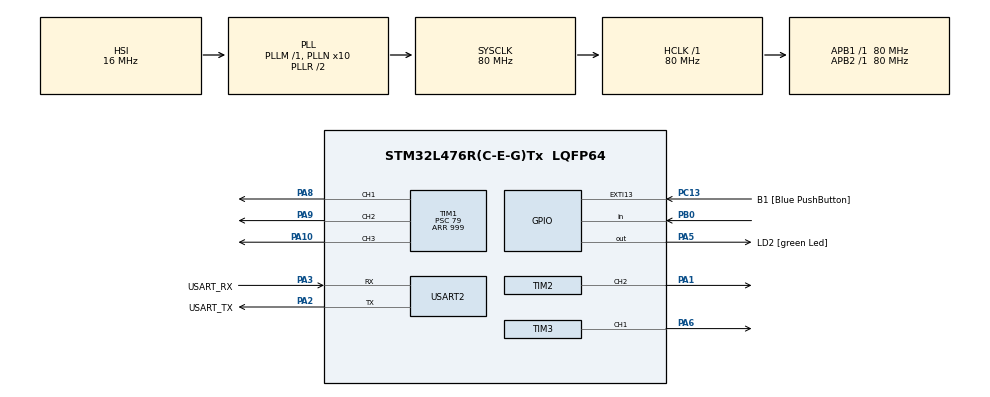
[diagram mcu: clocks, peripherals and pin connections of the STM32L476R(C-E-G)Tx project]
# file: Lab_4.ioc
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Mcu.Family=STM32L4
Mcu.Name=STM32L476R(C-E-G)Tx
Mcu.Package=LQFP64
NVIC.PriorityGroup=NVIC_PRIORITYGROUP_4
PA1.Signal=S_TIM2_CH2
PA10.Signal=S_TIM1_CH3
PA13\ (JTMS-SWDIO).GPIO_Label=TMS
PA13\ (JTMS-SWDIO).Mode=Serial_Wire
PA13\ (JTMS-SWDIO).Signal=SYS_JTMS-SWDIO
PA14\ (JTCK-SWCLK).GPIO_Label=TCK
PA14\ (JTCK-SWCLK).Mode=Serial_Wire
PA14\ (JTCK-SWCLK).Signal=SYS_JTCK-SWCLK
PA2.GPIO_Label=USART_TX
PA2.GPIO_Mode=GPIO_MODE_AF_PP
PA2.GPIO_PuPd=GPIO_NOPULL
PA2.GPIO_Speed=GPIO_SPEED_FREQ_VERY_HIGH
PA2.Mode=Asynchronous
PA2.Signal=USART2_TX
PA3.GPIO_Label=USART_RX
PA3.GPIO_Mode=GPIO_MODE_AF_PP
PA3.GPIO_PuPd=GPIO_NOPULL
PA3.GPIO_Speed=GPIO_SPEED_FREQ_VERY_HIGH
PA3.Mode=Asynchronous
PA3.Signal=USART2_RX
PA5.GPIO_Label=LD2 [green Led]
PA5.GPIO_ModeDefaultOutputPP=GPIO_MODE_OUTPUT_PP
PA5.GPIO_PuPd=GPIO_NOPULL
PA5.GPIO_Speed=GPIO_SPEED_FREQ_LOW
PA5.Signal=GPIO_Output
PA6.Signal=S_TIM3_CH1
PA8.Signal=S_TIM1_CH1
PA9.Signal=S_TIM1_CH2
PB0.GPIO_PuPd=GPIO_PULLUP
PB0.Signal=GPIO_Input
PB3\ (JTDO-TRACESWO).GPIO_Label=SWO
PB3\ (JTDO-TRACESWO).Signal=SYS_JTDO-SWO
PC13.GPIO_Label=B1 [Blue PushButton]
PC13.GPIO_ModeDefaultEXTI=GPIO_MODE_IT_FALLING
PC13.GPIO_PuPd=GPIO_NOPULL
PC13.Signal=GPXTI13
PC14-OSC32_IN\ (PC14).Mode=LSE-External-Oscillator
PC14-OSC32_IN\ (PC14).Signal=RCC_OSC32_IN
PC15-OSC32_OUT\ (PC15).Mode=LSE-External-Oscillator
PC15-OSC32_OUT\ (PC15).Signal=RCC_OSC32_OUT
PH0-OSC_IN\ (PH0).Signal=RCC_OSC_IN
PH1-OSC_OUT\ (PH1).Signal=RCC_OSC_OUT
ProjectManager.HeapSize=0x200
ProjectManager.StackSize=0x400
ProjectManager.TargetToolchain=STM32CubeIDE
RCC.ADCFreq_Value=64000000
RCC.AHBFreq_Value=80000000
RCC.APB1Freq_Value=80000000
RCC.APB1TimFreq_Value=80000000
RCC.APB2Freq_Value=80000000
RCC.APB2TimFreq_Value=80000000
RCC.CortexFreq_Value=80000000
RCC.HCLKFreq_Value=80000000
RCC.HSE_VALUE=8000000
RCC.HSI_VALUE=16000000
RCC.MSI_VALUE=4000000
RCC.PLLN=10
RCC.PLLSourceVirtual=RCC_PLLSOURCE_HSI
RCC.PREFETCH_ENABLE=1
RCC.SYSCLKFreq_VALUE=80000000
RCC.SYSCLKSource=RCC_SYSCLKSOURCE_PLLCLK
RCC.USBFreq_Value=64000000
RCC.VCOOutputFreq_Value=160000000
SH.S_TIM1_CH1.0=TIM1_CH1,PWM Generation1 CH1
SH.S_TIM1_CH2.0=TIM1_CH2,PWM Generation2 CH2
SH.S_TIM1_CH3.0=TIM1_CH3,PWM Generation3 CH3
SH.S_TIM2_CH2.0=TIM2_CH2,PWM Generation2 CH2
SH.S_TIM3_CH1.0=TIM3_CH1,PWM Generation1 CH1
TIM1.Channel-PWM\ Generation1\ CH1=TIM_CHANNEL_1
TIM1.Channel-PWM\ Generation2\ CH2=TIM_CHANNEL_2
TIM1.Channel-PWM\ Generation3\ CH3=TIM_CHANNEL_3
TIM1.Period=999
TIM1.Prescaler=79
TIM2.Channel-PWM\ Generation2\ CH2=TIM_CHANNEL_2
TIM2.Period=999
TIM2.Prescaler=79
TIM3.Channel-PWM\ Generation1\ CH1=TIM_CHANNEL_1
TIM3.Period=999
TIM3.Prescaler=79
TIM3.Pulse-PWM\ Generation1\ CH1=25
USART2.VirtualMode-Asynchronous=VM_ASYNC
board=NUCLEO-L476RG

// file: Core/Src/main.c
/* USER CODE BEGIN Header */
/**
  ******************************************************************************
  * @file           : main.c
  * @brief          : Main program body
  ******************************************************************************
  * @attention
  *
  * Copyright (c) 2026 STMicroelectronics.
  * All rights reserved.
  *
  * This software is licensed under terms that can be found in the LICENSE file
  * in the root directory of this software component.
  * If no LICENSE file comes with this software, it is provided AS-IS.
  *
  ******************************************************************************
  */
/* USER CODE END Header */
#include "main.h"

TIM_HandleTypeDef htim1;
TIM_HandleTypeDef htim2;
TIM_HandleTypeDef htim3;

UART_HandleTypeDef huart2;

void SystemClock_Config(void);
static void MX_GPIO_Init(void);
static void MX_USART2_UART_Init(void);
static void MX_TIM3_Init(void);
static void MX_TIM1_Init(void);
static void MX_TIM2_Init(void);

/* USER CODE BEGIN 0 */
void SetColor(uint8_t red, uint8_t green, uint8_t blue)
{
    uint32_t arr = __HAL_TIM_GET_AUTORELOAD(&htim1);

    __HAL_TIM_SET_COMPARE(&htim1, TIM_CHANNEL_1, (red   * arr) / 255);
    __HAL_TIM_SET_COMPARE(&htim1, TIM_CHANNEL_2, (green * arr) / 255);
    __HAL_TIM_SET_COMPARE(&htim1, TIM_CHANNEL_3, (blue  * arr) / 255);
}

void play_tone(uint32_t freq, uint32_t duration_ms) {
    uint32_t timer_clk = 1000000;  // 1 MHz based on 79 prescaler
    uint32_t period = timer_clk / freq;
    __HAL_TIM_SET_AUTORELOAD(&htim3, period - 1);
    __HAL_TIM_SET_COMPARE(&htim3, TIM_CHANNEL_1, period / 4);  // 25% duty cycle
    HAL_Delay(duration_ms);
    // Silence between notes
    __HAL_TIM_SET_COMPARE(&htim3, TIM_CHANNEL_1, 0);
    HAL_Delay(30);
}

/* USER CODE END 0 */

int main(void)
{

  /* MCU Configuration--------------------------------------------------------*/

  /* Reset of all peripherals, Initializes the Flash interface and the Systick. */
  HAL_Init();

  /* Configure the system clock */
  SystemClock_Config();

  /* Initialize all configured peripherals */
  MX_GPIO_Init();
  MX_USART2_UART_Init();
  MX_TIM3_Init();
  MX_TIM1_Init();
  MX_TIM2_Init();
  /* USER CODE BEGIN 2 */
  HAL_TIM_PWM_Start(&htim3, TIM_CHANNEL_1); // Start PWM

  HAL_TIM_PWM_Start(&htim1, TIM_CHANNEL_1); // Start PWM
  HAL_TIM_PWM_Start(&htim1, TIM_CHANNEL_2);
  HAL_TIM_PWM_Start(&htim1, TIM_CHANNEL_3);
  /* USER CODE END 2 */

  /* Infinite loop */
  /* USER CODE BEGIN WHILE */
  while (1)
  {
	  play_tone(0,0);
	  if(HAL_GPIO_ReadPin(GPIOB, GPIO_PIN_0) == GPIO_PIN_RESET){
		  SetColor(255,0,0);
		  HAL_Delay(500);

		  SetColor(0,255,0);
		  HAL_Delay(500);

		  SetColor(0,0,255);
		  HAL_Delay(500);

		  SetColor(0,0,0);
		  HAL_Delay(500);

		  // Hachimi chimi chi
		  play_tone(659, 180);   // E5
		  play_tone(659, 180);   // E5
		  play_tone(784, 180);   // G5
		  play_tone(659, 180);   // E5

		  // Ashiga ga ashi
		  play_tone(587, 180);   // D5
		  play_tone(659, 180);   // E5
		  play_tone(587, 180);   // D5

		  // MAMBO!
		  play_tone(784, 300);   // G5

		  // MAMBO!
		  play_tone(784, 300);   // G5

		  // MA-MAMBOOO
		  play_tone(659, 180);   // E5
		  play_tone(784, 180);   // G5
		  play_tone(988, 600);   // B5

		  // Ting ting tung tung ting
		  play_tone(988, 150);   // B5
		  play_tone(988, 150);   // B5
		  play_tone(784, 150);   // G5
		  play_tone(784, 150);   // G5
		  play_tone(988, 250);   // B5

		  // Ting ting ting tung tung ting
		  play_tone(988, 150);   // B5
		  play_tone(988, 150);   // B5
		  play_tone(988, 150);   // B5
		  play_tone(784, 150);   // G5
		  play_tone(784, 150);   // G5
		  play_tone(988, 300);   // B5

		  // HAAAAACHIMI
		  play_tone(659, 200);   // E5
		  play_tone(784, 200);   // G5
		  play_tone(988, 900);   // B5
	  }

    /* USER CODE END WHILE */

  }
}

void SystemClock_Config(void)
{
  RCC_OscInitTypeDef RCC_OscInitStruct = {0};
  RCC_ClkInitTypeDef RCC_ClkInitStruct = {0};

  /** Configure the main internal regulator output voltage
  */
  if (HAL_PWREx_ControlVoltageScaling(PWR_REGULATOR_VOLTAGE_SCALE1) != HAL_OK)
  {
    Error_Handler();
  }

  /** Initializes the RCC Oscillators according to the specified parameters
  * in the RCC_OscInitTypeDef structure.
  */
  RCC_OscInitStruct.OscillatorType = RCC_OSCILLATORTYPE_HSI;
  RCC_OscInitStruct.HSIState = RCC_HSI_ON;
  RCC_OscInitStruct.HSICalibrationValue = RCC_HSICALIBRATION_DEFAULT;
  RCC_OscInitStruct.PLL.PLLState = RCC_PLL_ON;
  RCC_OscInitStruct.PLL.PLLSource = RCC_PLLSOURCE_HSI;
  RCC_OscInitStruct.PLL.PLLM = 1;
  RCC_OscInitStruct.PLL.PLLN = 10;
  RCC_OscInitStruct.PLL.PLLP = RCC_PLLP_DIV7;
  RCC_OscInitStruct.PLL.PLLQ = RCC_PLLQ_DIV2;
  RCC_OscInitStruct.PLL.PLLR = RCC_PLLR_DIV2;
  if (HAL_RCC_OscConfig(&RCC_OscInitStruct) != HAL_OK)
  {
    Error_Handler();
  }

  /** Initializes the CPU, AHB and APB buses clocks
  */
  RCC_ClkInitStruct.ClockType = RCC_CLOCKTYPE_HCLK|RCC_CLOCKTYPE_SYSCLK
                              |RCC_CLOCKTYPE_PCLK1|RCC_CLOCKTYPE_PCLK2;
  RCC_ClkInitStruct.SYSCLKSource = RCC_SYSCLKSOURCE_PLLCLK;
  RCC_ClkInitStruct.AHBCLKDivider = RCC_SYSCLK_DIV1;
  RCC_ClkInitStruct.APB1CLKDivider = RCC_HCLK_DIV1;
  RCC_ClkInitStruct.APB2CLKDivider = RCC_HCLK_DIV1;

  if (HAL_RCC_ClockConfig(&RCC_ClkInitStruct, FLASH_LATENCY_4) != HAL_OK)
  {
    Error_Handler();
  }
}

static void MX_TIM1_Init(void)
{

  TIM_MasterConfigTypeDef sMasterConfig = {0};
  TIM_OC_InitTypeDef sConfigOC = {0};
  TIM_BreakDeadTimeConfigTypeDef sBreakDeadTimeConfig = {0};

  htim1.Instance = TIM1;
  htim1.Init.Prescaler = 79;
  htim1.Init.CounterMode = TIM_COUNTERMODE_UP;
  htim1.Init.Period = 999;
  htim1.Init.ClockDivision = TIM_CLOCKDIVISION_DIV1;
  htim1.Init.RepetitionCounter = 0;
  htim1.Init.AutoReloadPreload = TIM_AUTORELOAD_PRELOAD_DISABLE;
  if (HAL_TIM_PWM_Init(&htim1) != HAL_OK)
  {
    Error_Handler();
  }
  sMasterConfig.MasterOutputTrigger = TIM_TRGO_RESET;
  sMasterConfig.MasterOutputTrigger2 = TIM_TRGO2_RESET;
  sMasterConfig.MasterSlaveMode = TIM_MASTERSLAVEMODE_DISABLE;
  if (HAL_TIMEx_MasterConfigSynchronization(&htim1, &sMasterConfig) != HAL_OK)
  {
    Error_Handler();
  }
  sConfigOC.OCMode = TIM_OCMODE_PWM1;
  sConfigOC.Pulse = 0;
  sConfigOC.OCPolarity = TIM_OCPOLARITY_HIGH;
  sConfigOC.OCNPolarity = TIM_OCNPOLARITY_HIGH;
  sConfigOC.OCFastMode = TIM_OCFAST_DISABLE;
  sConfigOC.OCIdleState = TIM_OCIDLESTATE_RESET;
  sConfigOC.OCNIdleState = TIM_OCNIDLESTATE_RESET;
  if (HAL_TIM_PWM_ConfigChannel(&htim1, &sConfigOC, TIM_CHANNEL_1) != HAL_OK)
  {
    Error_Handler();
  }
  if (HAL_TIM_PWM_ConfigChannel(&htim1, &sConfigOC, TIM_CHANNEL_2) != HAL_OK)
  {
    Error_Handler();
  }
  if (HAL_TIM_PWM_ConfigChannel(&htim1, &sConfigOC, TIM_CHANNEL_3) != HAL_OK)
  {
    Error_Handler();
  }
  sBreakDeadTimeConfig.OffStateRunMode = TIM_OSSR_DISABLE;
  sBreakDeadTimeConfig.OffStateIDLEMode = TIM_OSSI_DISABLE;
  sBreakDeadTimeConfig.LockLevel = TIM_LOCKLEVEL_OFF;
  sBreakDeadTimeConfig.DeadTime = 0;
  sBreakDeadTimeConfig.BreakState = TIM_BREAK_DISABLE;
  sBreakDeadTimeConfig.BreakPolarity = TIM_BREAKPOLARITY_HIGH;
  sBreakDeadTimeConfig.BreakFilter = 0;
  sBreakDeadTimeConfig.Break2State = TIM_BREAK2_DISABLE;
  sBreakDeadTimeConfig.Break2Polarity = TIM_BREAK2POLARITY_HIGH;
  sBreakDeadTimeConfig.Break2Filter = 0;
  sBreakDeadTimeConfig.AutomaticOutput = TIM_AUTOMATICOUTPUT_DISABLE;
  if (HAL_TIMEx_ConfigBreakDeadTime(&htim1, &sBreakDeadTimeConfig) != HAL_OK)
  {
    Error_Handler();
  }
  HAL_TIM_MspPostInit(&htim1);

}

static void MX_TIM2_Init(void)
{

  TIM_MasterConfigTypeDef sMasterConfig = {0};
  TIM_OC_InitTypeDef sConfigOC = {0};

  htim2.Instance = TIM2;
  htim2.Init.Prescaler = 79;
  htim2.Init.CounterMode = TIM_COUNTERMODE_UP;
  htim2.Init.Period = 999;
  htim2.Init.ClockDivision = TIM_CLOCKDIVISION_DIV1;
  htim2.Init.AutoReloadPreload = TIM_AUTORELOAD_PRELOAD_DISABLE;
  if (HAL_TIM_PWM_Init(&htim2) != HAL_OK)
  {
    Error_Handler();
  }
  sMasterConfig.MasterOutputTrigger = TIM_TRGO_RESET;
  sMasterConfig.MasterSlaveMode = TIM_MASTERSLAVEMODE_DISABLE;
  if (HAL_TIMEx_MasterConfigSynchronization(&htim2, &sMasterConfig) != HAL_OK)
  {
    Error_Handler();
  }
  sConfigOC.OCMode = TIM_OCMODE_PWM1;
  sConfigOC.Pulse = 0;
  sConfigOC.OCPolarity = TIM_OCPOLARITY_HIGH;
  sConfigOC.OCFastMode = TIM_OCFAST_DISABLE;
  if (HAL_TIM_PWM_ConfigChannel(&htim2, &sConfigOC, TIM_CHANNEL_2) != HAL_OK)
  {
    Error_Handler();
  }
  HAL_TIM_MspPostInit(&htim2);

}

static void MX_TIM3_Init(void)
{

  TIM_MasterConfigTypeDef sMasterConfig = {0};
  TIM_OC_InitTypeDef sConfigOC = {0};

  htim3.Instance = TIM3;
  htim3.Init.Prescaler = 79;
  htim3.Init.CounterMode = TIM_COUNTERMODE_UP;
  htim3.Init.Period = 999;
  htim3.Init.ClockDivision = TIM_CLOCKDIVISION_DIV1;
  htim3.Init.AutoReloadPreload = TIM_AUTORELOAD_PRELOAD_DISABLE;
  if (HAL_TIM_PWM_Init(&htim3) != HAL_OK)
  {
    Error_Handler();
  }
  sMasterConfig.MasterOutputTrigger = TIM_TRGO_RESET;
  sMasterConfig.MasterSlaveMode = TIM_MASTERSLAVEMODE_DISABLE;
  if (HAL_TIMEx_MasterConfigSynchronization(&htim3, &sMasterConfig) != HAL_OK)
  {
    Error_Handler();
  }
  sConfigOC.OCMode = TIM_OCMODE_PWM1;
  sConfigOC.Pulse = 25;
  sConfigOC.OCPolarity = TIM_OCPOLARITY_HIGH;
  sConfigOC.OCFastMode = TIM_OCFAST_DISABLE;
  if (HAL_TIM_PWM_ConfigChannel(&htim3, &sConfigOC, TIM_CHANNEL_1) != HAL_OK)
  {
    Error_Handler();
  }
  HAL_TIM_MspPostInit(&htim3);

}

static void MX_USART2_UART_Init(void)
{

  huart2.Instance = USART2;
  huart2.Init.BaudRate = 115200;
  huart2.Init.WordLength = UART_WORDLENGTH_8B;
  huart2.Init.StopBits = UART_STOPBITS_1;
  huart2.Init.Parity = UART_PARITY_NONE;
  huart2.Init.Mode = UART_MODE_TX_RX;
  huart2.Init.HwFlowCtl = UART_HWCONTROL_NONE;
  huart2.Init.OverSampling = UART_OVERSAMPLING_16;
  huart2.Init.OneBitSampling = UART_ONE_BIT_SAMPLE_DISABLE;
  huart2.AdvancedInit.AdvFeatureInit = UART_ADVFEATURE_NO_INIT;
  if (HAL_UART_Init(&huart2) != HAL_OK)
  {
    Error_Handler();
  }

}

static void MX_GPIO_Init(void)
{
  GPIO_InitTypeDef GPIO_InitStruct = {0};

  /* GPIO Ports Clock Enable */
  __HAL_RCC_GPIOC_CLK_ENABLE();
  __HAL_RCC_GPIOH_CLK_ENABLE();
  __HAL_RCC_GPIOA_CLK_ENABLE();
  __HAL_RCC_GPIOB_CLK_ENABLE();

  /*Configure GPIO pin Output Level */
  HAL_GPIO_WritePin(LD2_GPIO_Port, LD2_Pin, GPIO_PIN_RESET);

  /*Configure GPIO pin : B1_Pin */
  GPIO_InitStruct.Pin = B1_Pin;
  GPIO_InitStruct.Mode = GPIO_MODE_IT_FALLING;
  GPIO_InitStruct.Pull = GPIO_NOPULL;
  HAL_GPIO_Init(B1_GPIO_Port, &GPIO_InitStruct);

  /*Configure GPIO pin : LD2_Pin */
  GPIO_InitStruct.Pin = LD2_Pin;
  GPIO_InitStruct.Mode = GPIO_MODE_OUTPUT_PP;
  GPIO_InitStruct.Pull = GPIO_NOPULL;
  GPIO_InitStruct.Speed = GPIO_SPEED_FREQ_LOW;
  HAL_GPIO_Init(LD2_GPIO_Port, &GPIO_InitStruct);

  /*Configure GPIO pin : PB0 */
  GPIO_InitStruct.Pin = GPIO_PIN_0;
  GPIO_InitStruct.Mode = GPIO_MODE_INPUT;
  GPIO_InitStruct.Pull = GPIO_PULLUP;
  HAL_GPIO_Init(GPIOB, &GPIO_InitStruct);

}

void Error_Handler(void)
{
  __disable_irq();
  while (1)
  {
  }
}
